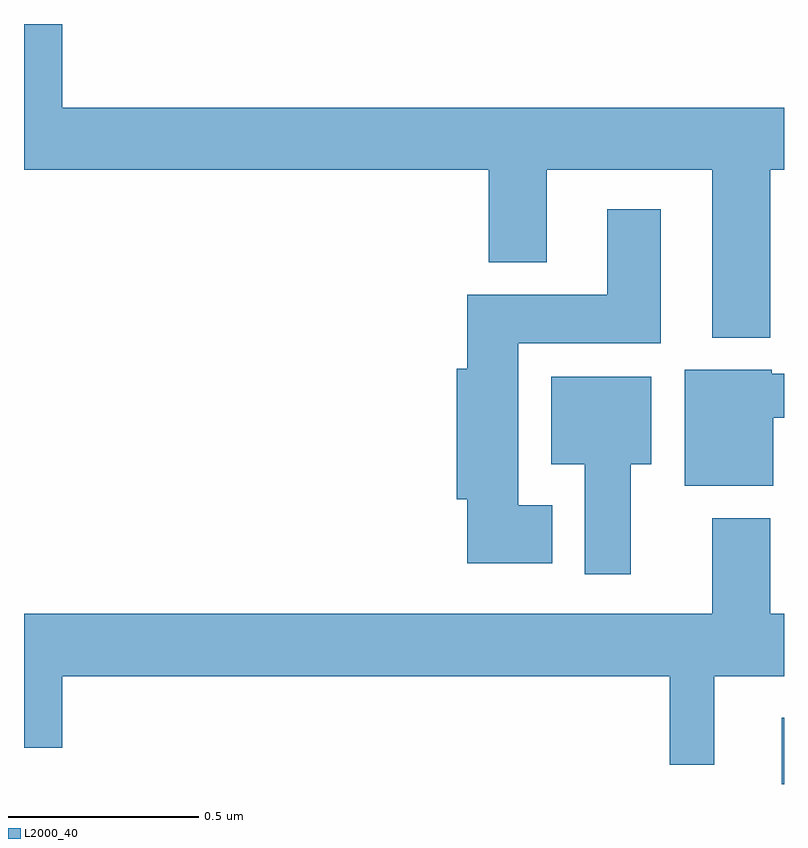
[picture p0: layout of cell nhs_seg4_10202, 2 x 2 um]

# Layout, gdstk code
import gdstk
lib = gdstk.Library(unit=1e-6, precision=1e-09)
def R(c, l, rs):  # rectangles x0, y0, x1, y1
    for r in rs: c.add(gdstk.rectangle(r[:2], r[2:], *l))
def P(c, l, *ps):  # polygons
    for p in ps: c.add(gdstk.Polygon(p, *l))
L2000_40 = (2000, 40)

nhs_seg4_10202 = lib.new_cell('nhs_seg4_10202')
R(nhs_seg4_10202, L2000_40, [(238.994,765.9,239,766.075)])
P(nhs_seg4_10202, L2000_40, [(238.964,767.516),(239,767.516),(239,767.68),(237.1,767.68),(237.1,767.9),(237,767.9),(237,767.516),(238.223,767.516),(238.223,767.273),(238.375,767.273),(238.375,767.516),(238.811,767.516),(238.811,767.075),(238.964,767.075)],
  [(238.39,766.633),(238.3,766.633),(238.3,767.06),(238.675,767.06),(238.675,767.413),(238.535,767.413),(238.535,767.188),(238.166,767.188),(238.166,766.993),(238.139,766.993),(238.139,766.649),(238.166,766.649),(238.166,766.481),(238.39,766.481)],
  [(238.972,766.864),(239,766.864),(239,766.98),(238.968,766.98),(238.968,766.99),(238.739,766.99),(238.739,766.685),(238.972,766.685)],
  [(238.597,766.742),(238.651,766.742),(238.651,766.972),(238.388,766.972),(238.388,766.742),(238.475,766.742),(238.475,766.452),(238.597,766.452)],
  [(238.817,766.184),(239,766.184),(239,766.348),(238.964,766.348),(238.964,766.6),(238.811,766.6),(238.811,766.348),(237,766.348),(237,765.996),(237.1,765.996),(237.1,766.184),(238.699,766.184),(238.699,765.951),(238.817,765.951)])

lib.write_gds('nhs_seg4_10202.gds')
